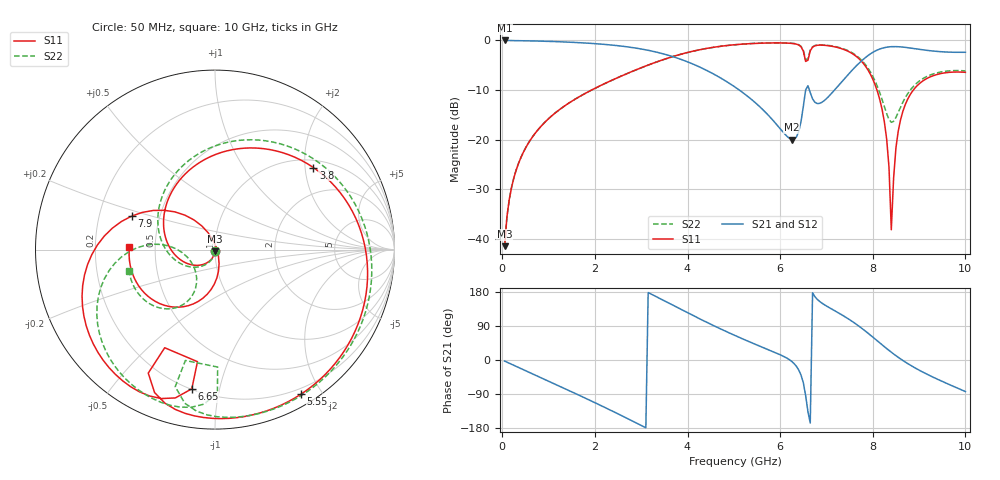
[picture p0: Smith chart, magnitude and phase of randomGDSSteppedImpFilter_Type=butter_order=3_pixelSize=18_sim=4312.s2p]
! freq	dB(S11)	phase(S11)	dB(S12)	phase(S12)
!  dB(S21)	phase(S21)	dB(S22)	phase(S22)
!S-par simulation data
#  GHz  S  DB  R 50
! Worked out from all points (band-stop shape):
!   200 points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, 50 MHz to 10 GHz, reference 50 ohm
!   highest |S21| = -0.01 dB at 50 MHz (marker M1); lowest = -20.0 dB at 6.25 GHz (marker M2)
!   |S21| within 3 dB of the highest: start of sweep to 3.591 GHz; 7.903 GHz to end of sweep
!   lowest |S11| = -41.5 dB at 50 MHz (marker M3), VSWR 1.02, Z = 50 - j0.843 ohm
!   |S11| at or under -10 dB: start of sweep to 1.928 GHz; 8.09 GHz to 8.877 GHz (787 MHz wide, 9.28 % of centre)
!   |S22| runs from -41.5 to -0.5 dB; largest |S21 - S12| = 0
!   S11 on the Smith chart (normalised r, x): 50 MHz: 1.00, -0.02; 3.8 GHz: 1.19, +2.22; 5.55 GHz: 0.13, -1.75; 6.65 GHz: 0.20, -0.83; 7.9 GHz: 0.34, +0.17; 10 GHz: 0.35, +0.01
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0.05  -41.47 -91.6  -0.01 -2.8  -0.01 -2.8  -41.47 -91.2
0.2  -29.62 -101.6  -0.02 -11.2  -0.02 -11.2  -29.61 -100.3
0.5  -21.73 -120.0  -0.07 -27.9  -0.07 -27.9  -21.72 -116.7
1.75  -10.89 165.6  -0.50 -98.2  -0.50 -98.2  -10.88 176.0
2.65  -6.85 111.1  -1.23 -151.2  -1.23 -151.2  -6.86 124.3
3.4  -4.11 64.6  -2.52 162.3  -2.52 162.3  -4.12 77.8
3.8  -2.93 39.8  -3.63 137.2  -3.63 137.2  -2.94 52.4
4.45  -1.55 0.7  -6.21 97.4  -6.21 97.4  -1.55 12.1
5.05  -0.84 -32.9  -9.56 63.3  -9.56 63.3  -0.84 -22.4
5.55  -0.56 -59.2  -13.28 37.0  -13.28 37.0  -0.55 -49.0
6.25  -0.60 -97.0  -19.99 -3.7  -19.99 -3.7  -0.57 -86.1
6.55  -4.23 -117.1  -10.00 -93.3  -10.00 -93.3  -3.88 -105.0
6.65  -2.09 -99.5  -10.52 -166.3  -10.52 -166.3  -1.96 -89.0
6.7  -1.36 -105.0  -11.78 177.3  -11.78 177.3  -1.28 -94.1
7.35  -1.73 -153.1  -8.12 117.8  -8.12 117.8  -1.64 -137.6
7.9  -6.01 158.1  -3.03 70.5  -3.03 70.5  -5.63 -175.5
8.2  -13.85 125.3  -1.58 40.1  -1.58 40.1  -11.87 175.6
8.35  -25.51 101.6  -1.30 25.3  -1.30 25.3  -15.93 -164.8
8.4  -38.17 38.1  -1.26 20.5  -1.26 20.5  -16.51 -152.2
8.5  -21.66 -74.0  -1.25 11.4  -1.25 11.4  -15.53 -129.6
8.75  -11.92 -100.1  -1.45 -9.1  -1.45 -9.1  -10.80 -116.4
10  -6.43 178.2  -2.38 -83.2  -2.38 -83.2  -6.14 -165.9
